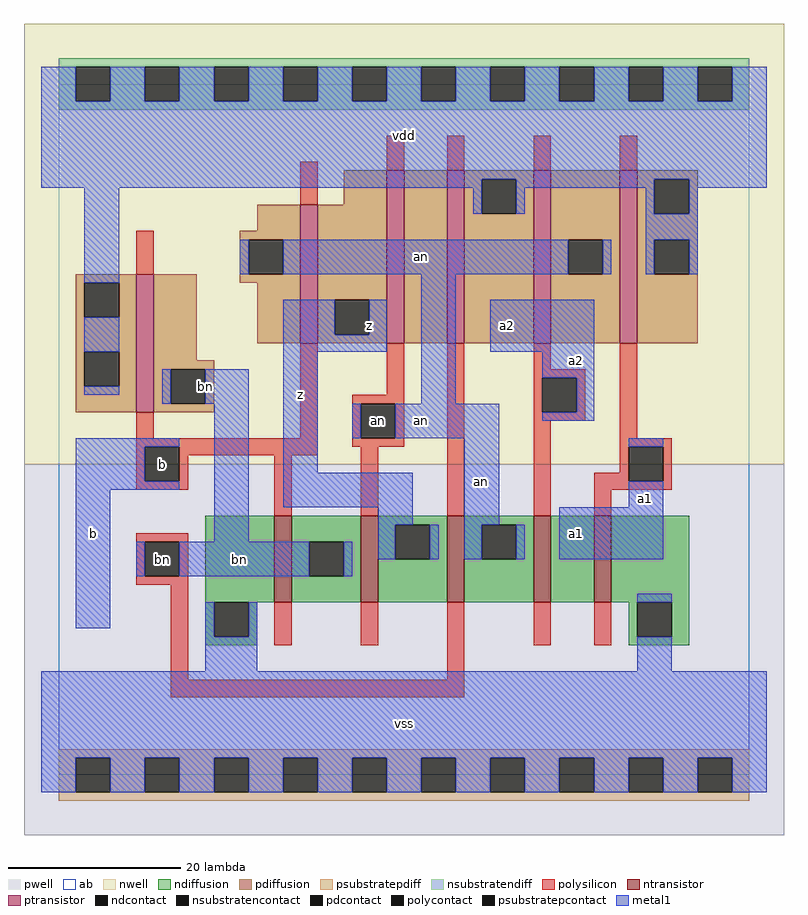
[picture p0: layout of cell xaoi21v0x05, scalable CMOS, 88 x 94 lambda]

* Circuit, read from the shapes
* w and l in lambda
.subckt xaoi21v0x05 a1 a2 an b bn vdd vss z
M1 bn b vss vss nfet w=10 l=2
M2 z an bn vss nfet w=10 l=2
M3 an bn z vss nfet w=10 l=2
M4 n1 a2 an vss nfet w=10 l=2
M5 vss a1 n1 vss nfet w=10 l=2
M6 bn b vdd vdd pfet w=16 l=2
M7 z b an vdd pfet w=16 l=2
M8 n2 an z vdd pfet w=20 l=2
M9 vdd bn n2 vdd pfet w=20 l=2
M10 an a2 vdd vdd pfet w=20 l=2
M11 vdd a1 an vdd pfet w=20 l=2
.ends

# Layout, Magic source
magic
tech scmos
<< ab >>
rect 0 0 80 80
<< pwell >>
rect -4 -7 84 36
<< nwell >>
rect -4 36 84 87
<< polysilicon >>
rect 28 66 30 71
rect 38 70 40 74
rect 45 70 47 74
rect 55 70 57 74
rect 65 70 67 74
rect 9 58 11 63
rect 9 39 11 42
rect 28 39 30 50
rect 38 44 40 50
rect 9 38 30 39
rect 34 43 40 44
rect 34 39 35 43
rect 39 39 40 43
rect 34 38 40 39
rect 9 34 10 38
rect 14 37 30 38
rect 14 34 15 37
rect 9 33 15 34
rect 25 30 27 37
rect 35 30 37 38
rect 45 30 47 50
rect 55 47 57 50
rect 55 46 61 47
rect 55 42 56 46
rect 60 42 61 46
rect 55 41 61 42
rect 55 30 57 41
rect 65 39 67 50
rect 65 38 71 39
rect 65 35 66 38
rect 62 34 66 35
rect 70 34 71 38
rect 62 33 71 34
rect 62 30 64 33
rect 9 27 15 28
rect 9 23 10 27
rect 14 23 15 27
rect 9 22 15 23
rect 13 11 15 22
rect 25 15 27 20
rect 35 15 37 20
rect 45 11 47 20
rect 55 15 57 20
rect 62 15 64 20
rect 13 9 47 11
<< ndiffusion >>
rect 17 20 25 30
rect 27 27 35 30
rect 27 23 29 27
rect 33 23 35 27
rect 27 20 35 23
rect 37 29 45 30
rect 37 25 39 29
rect 43 25 45 29
rect 37 20 45 25
rect 47 29 55 30
rect 47 25 49 29
rect 53 25 55 29
rect 47 20 55 25
rect 57 20 62 30
rect 64 20 73 30
rect 17 16 18 20
rect 22 16 23 20
rect 17 15 23 16
rect 66 16 67 20
rect 71 16 73 20
rect 66 15 73 16
<< pdiffusion >>
rect 33 66 38 70
rect 23 63 28 66
rect 21 62 28 63
rect 21 58 22 62
rect 26 58 28 62
rect 2 57 9 58
rect 2 53 3 57
rect 7 53 9 57
rect 2 49 9 53
rect 2 45 3 49
rect 7 45 9 49
rect 2 42 9 45
rect 11 48 16 58
rect 21 57 28 58
rect 23 50 28 57
rect 30 55 38 66
rect 30 51 32 55
rect 36 51 38 55
rect 30 50 38 51
rect 40 50 45 70
rect 47 69 55 70
rect 47 65 49 69
rect 53 65 55 69
rect 47 50 55 65
rect 57 62 65 70
rect 57 58 59 62
rect 63 58 65 62
rect 57 50 65 58
rect 67 69 74 70
rect 67 65 69 69
rect 73 65 74 69
rect 67 62 74 65
rect 67 58 69 62
rect 73 58 74 62
rect 67 50 74 58
rect 11 47 18 48
rect 11 43 13 47
rect 17 43 18 47
rect 11 42 18 43
<< metal1 >>
rect -2 78 2 82
rect 6 78 10 82
rect 14 78 18 82
rect 22 78 26 82
rect 30 78 34 82
rect 38 78 42 82
rect 46 78 50 82
rect 54 78 58 82
rect 62 78 66 82
rect 70 78 74 82
rect 78 78 82 82
rect -2 69 82 78
rect -2 68 49 69
rect 3 57 7 68
rect 48 65 49 68
rect 53 68 69 69
rect 53 65 54 68
rect 68 65 69 68
rect 73 68 82 69
rect 73 65 74 68
rect 68 62 74 65
rect 21 58 22 62
rect 26 58 59 62
rect 63 58 64 62
rect 68 58 69 62
rect 73 58 74 62
rect 3 49 7 53
rect 26 51 32 55
rect 36 51 38 55
rect 26 49 38 51
rect 3 44 7 45
rect 12 43 13 47
rect 17 43 22 47
rect 2 38 14 39
rect 2 34 10 38
rect 2 33 14 34
rect 2 17 6 33
rect 18 27 22 43
rect 26 35 30 49
rect 42 43 46 58
rect 50 49 62 55
rect 56 46 62 49
rect 34 39 35 43
rect 39 39 51 43
rect 60 42 62 46
rect 56 41 62 42
rect 26 31 41 35
rect 37 29 41 31
rect 47 29 51 39
rect 66 38 70 39
rect 66 31 70 34
rect 9 23 10 27
rect 14 23 29 27
rect 33 23 34 27
rect 37 25 39 29
rect 43 25 44 29
rect 47 25 49 29
rect 53 25 54 29
rect 58 25 70 31
rect 67 20 71 21
rect 17 16 18 20
rect 22 16 23 20
rect 17 12 23 16
rect 67 12 71 16
rect -2 2 82 12
rect -2 -2 2 2
rect 6 -2 10 2
rect 14 -2 18 2
rect 22 -2 26 2
rect 30 -2 34 2
rect 38 -2 42 2
rect 46 -2 50 2
rect 54 -2 58 2
rect 62 -2 66 2
rect 70 -2 74 2
rect 78 -2 82 2
<< ntransistor >>
rect 25 20 27 30
rect 35 20 37 30
rect 45 20 47 30
rect 55 20 57 30
rect 62 20 64 30
<< ptransistor >>
rect 9 42 11 58
rect 28 50 30 66
rect 38 50 40 70
rect 45 50 47 70
rect 55 50 57 70
rect 65 50 67 70
<< polycontact >>
rect 35 39 39 43
rect 10 34 14 38
rect 56 42 60 46
rect 66 34 70 38
rect 10 23 14 27
<< ndcontact >>
rect 29 23 33 27
rect 39 25 43 29
rect 49 25 53 29
rect 18 16 22 20
rect 67 16 71 20
<< pdcontact >>
rect 22 58 26 62
rect 3 53 7 57
rect 3 45 7 49
rect 32 51 36 55
rect 49 65 53 69
rect 59 58 63 62
rect 69 65 73 69
rect 69 58 73 62
rect 13 43 17 47
<< psubstratepcontact >>
rect 2 -2 6 2
rect 10 -2 14 2
rect 18 -2 22 2
rect 26 -2 30 2
rect 34 -2 38 2
rect 42 -2 46 2
rect 50 -2 54 2
rect 58 -2 62 2
rect 66 -2 70 2
rect 74 -2 78 2
<< nsubstratencontact >>
rect 2 78 6 82
rect 10 78 14 82
rect 18 78 22 82
rect 26 78 30 82
rect 34 78 38 82
rect 42 78 46 82
rect 50 78 54 82
rect 58 78 62 82
rect 66 78 70 82
rect 74 78 78 82
<< psubstratepdiff >>
rect 0 2 80 3
rect 0 -2 2 2
rect 6 -2 10 2
rect 14 -2 18 2
rect 22 -2 26 2
rect 30 -2 34 2
rect 38 -2 42 2
rect 46 -2 50 2
rect 54 -2 58 2
rect 62 -2 66 2
rect 70 -2 74 2
rect 78 -2 80 2
rect 0 -3 80 -2
<< nsubstratendiff >>
rect 0 82 80 83
rect 0 78 2 82
rect 6 78 10 82
rect 14 78 18 82
rect 22 78 26 82
rect 30 78 34 82
rect 38 78 42 82
rect 46 78 50 82
rect 54 78 58 82
rect 62 78 66 82
rect 70 78 74 82
rect 78 78 80 82
rect 0 77 80 78
<< labels >>
rlabel polycontact 12 25 12 25 6 bn
rlabel polycontact 37 41 37 41 6 an
rlabel metal1 4 28 4 28 6 b
rlabel polycontact 12 36 12 36 6 b
rlabel metal1 17 45 17 45 6 bn
rlabel metal1 28 44 28 44 6 z
rlabel metal1 40 6 40 6 6 vss
rlabel metal1 21 25 21 25 6 bn
rlabel metal1 36 52 36 52 6 z
rlabel metal1 40 74 40 74 6 vdd
rlabel metal1 60 28 60 28 6 a1
rlabel metal1 49 34 49 34 6 an
rlabel metal1 42 41 42 41 6 an
rlabel metal1 60 48 60 48 6 a2
rlabel metal1 52 52 52 52 6 a2
rlabel metal1 42 60 42 60 6 an
rlabel metal1 68 32 68 32 6 a1
<< end >>
